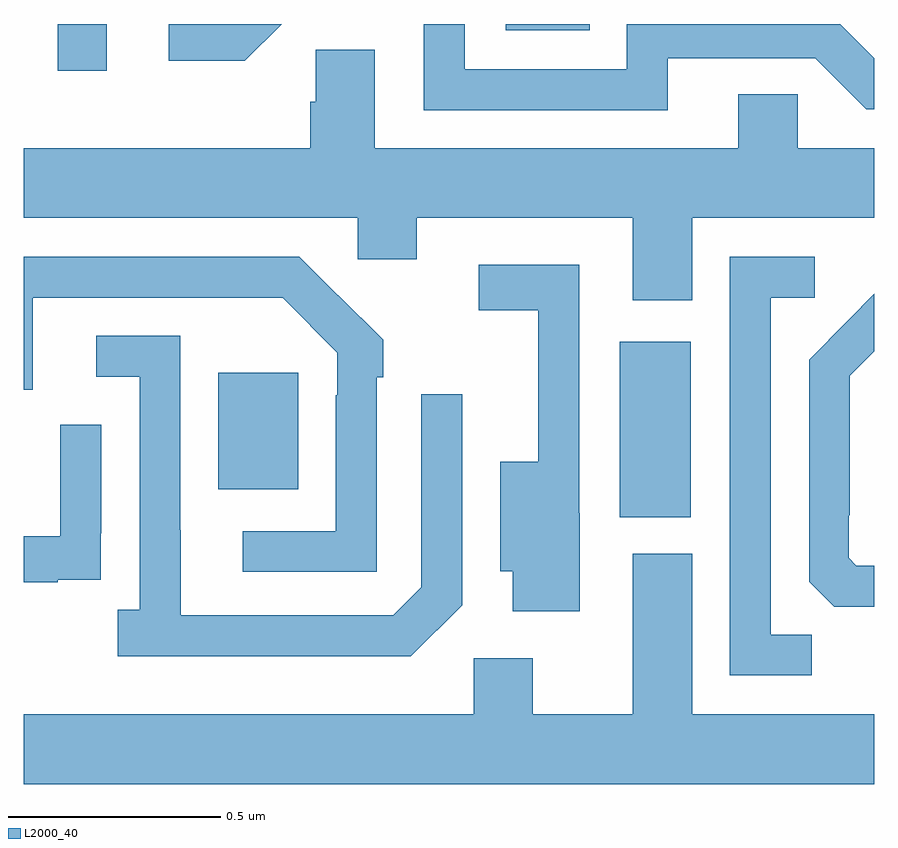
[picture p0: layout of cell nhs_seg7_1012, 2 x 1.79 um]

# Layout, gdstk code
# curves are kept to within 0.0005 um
import gdstk
lib = gdstk.Library(unit=1e-6, precision=1e-09)
def R(c, l, rs):  # rectangles x0, y0, x1, y1
    for r in rs: c.add(gdstk.rectangle(r[:2], r[2:], *l))
def P(c, l, *ps):  # polygons
    for p in ps: c.add(gdstk.Polygon(p, *l))
L2000_40 = (2000, 40)

nhs_seg7_1012 = lib.new_cell('nhs_seg7_1012')
R(nhs_seg7_1012, L2000_40, [(125.402,1071.839,125.569,1072.252), (124.457,1071.905,124.645,1072.18), (124.08,1072.89,124.195,1073), (125.133,1072.985,125.331,1073)])
P(nhs_seg7_1012, L2000_40, [(125.515,1072.92),(125.862,1072.92),(125.982,1072.8),(126,1072.8),(126,1072.92),(125.92,1073),(125.418,1073),(125.418,1072.893),(125.037,1072.893),(125.037,1073),(124.941,1073),(124.941,1072.797),(125.515,1072.797)],
  [(124.607,1073),(124.341,1073),(124.341,1072.913),(124.519,1072.913)],
  [(125.572,1072.544),(126,1072.544),(126,1072.708),(125.82,1072.708),(125.82,1072.835),(125.681,1072.835),(125.681,1072.708),(124.825,1072.708),(124.825,1072.94),(124.686,1072.94),(124.686,1072.817),(124.673,1072.817),(124.673,1072.708),(124,1072.708),(124,1072.544),(124.785,1072.544),(124.785,1072.446),(124.924,1072.446),(124.924,1072.544),(125.432,1072.544),(125.432,1072.35),(125.572,1072.35)],
  [(124.83,1072.169),(124.845,1072.169),(124.845,1072.257),(124.74,1072.362),(124.739,1072.361),(124.648,1072.452),(124,1072.452),(124,1072.14),(124.021,1072.14),(124.021,1072.356),(124.609,1072.356),(124.737,1072.227),(124.737,1072.127),(124.734,1072.127),(124.734,1071.807),(124.515,1071.807),(124.515,1071.711),(124.83,1071.711)],
  [(125.853,1071.563),(125.757,1071.563),(125.757,1072.356),(125.86,1072.356),(125.86,1072.452),(125.661,1072.452),(125.661,1071.468),(125.853,1071.468)],
  [(125.308,1071.849),(125.307,1071.849),(125.307,1072.434),(125.07,1072.434),(125.07,1072.326),(125.21,1072.326),(125.21,1071.97),(125.12,1071.97),(125.12,1071.713),(125.15,1071.713),(125.15,1071.618),(125.308,1071.618)],
  [(126,1071.726),(125.958,1071.726),(125.94,1071.744),(125.94,1071.844),(125.943,1071.844),(125.943,1072.173),(126,1072.23),(126,1072.365),(125.847,1072.21),(125.847,1071.688),(125.906,1071.629),(126,1071.629)],
  [(125.031,1071.633),(125.031,1072.129),(124.935,1072.129),(124.935,1071.675),(124.869,1071.609),(124.369,1071.609),(124.369,1071.809),(124.368,1071.809),(124.368,1072.266),(124.17,1072.266),(124.17,1072.17),(124.272,1072.17),(124.272,1071.622),(124.221,1071.622),(124.221,1071.512),(124.91,1071.512)],
  [(124.079,1071.693),(124.181,1071.693),(124.181,1071.802),(124.182,1071.802),(124.182,1072.057),(124.086,1072.057),(124.086,1071.795),(124,1071.795),(124,1071.687),(124.079,1071.687)],
  [(126,1071.376),(125.572,1071.376),(125.572,1071.754),(125.432,1071.754),(125.432,1071.376),(125.197,1071.376),(125.197,1071.508),(125.058,1071.508),(125.058,1071.376),(124,1071.376),(124,1071.212),(126,1071.212)])

lib.write_gds('nhs_seg7_1012.gds')
